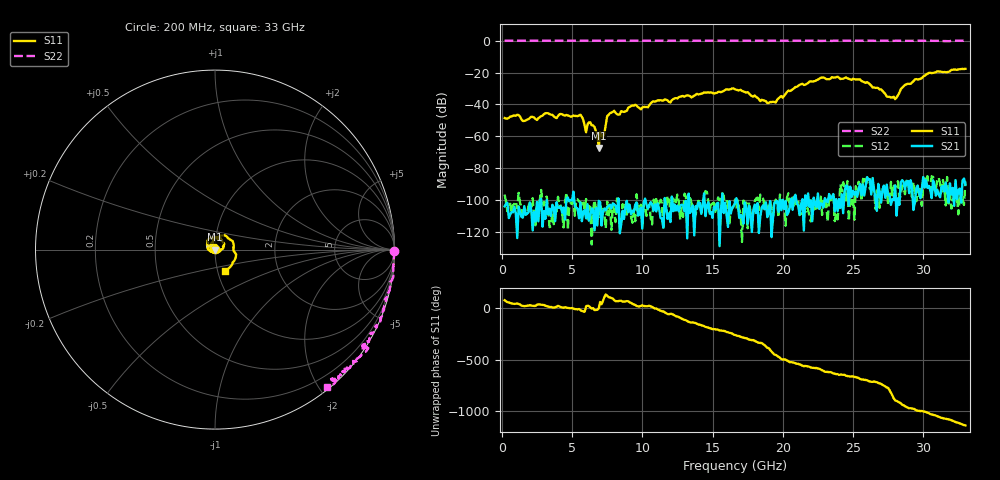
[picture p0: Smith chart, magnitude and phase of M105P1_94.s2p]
# GHZ S RI R 50
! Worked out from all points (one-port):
!   329 points, 200 MHz to 33 GHz, reference 50 ohm
!   lowest |S11| = -67.2 dB at 6.9 GHz (marker M1), VSWR 1.00, Z = 50 + j0.000732 ohm
!   |S11| at or under -10 dB: start of sweep to end of sweep
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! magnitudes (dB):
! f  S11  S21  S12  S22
! 200 MHz  -48.5  -103.9  -96.5  0.0
! 5.7 GHz  -47.8  -113.2  -104.4  0.0
! 6 GHz  -57.4  -111.4  -99.3  0.0
! 6.2 GHz  -51.3  -112.9  -103.8  0.0
! 6.6 GHz  -54.2  -119.0  -100.1  0.0
! 6.8 GHz  -58.8  -115.9  -104.1  0.0
! 6.9 GHz  -67.2  -100.5  -111.5  0.0
! 7 GHz  -57.4  -101.2  -102.6  0.0
! 7.2 GHz  -61.2  -107.1  -105.9  0.0
! 7.5 GHz  -47.3  -104.5  -100.9  -0.1
! 7.7 GHz  -45.5  -103.0  -102.9  0.0
! 11.2 GHz  -37.4  -105.3  -102.0  -0.1
! 16.6 GHz  -30.5  -101.8  -99.7  0.0
! 19.5 GHz  -38.7  -101.0  -99.7  -0.1
! 20.4 GHz  -31.3  -107.9  -95.8  -0.1
! 22.1 GHz  -25.7  -113.2  -106.2  0.0
! 25.5 GHz  -24.3  -89.9  -90.5  0.0
! 27.6 GHz  -35.2  -97.1  -100.6  0.0
! 28 GHz  -36.7  -90.7  -91.7  -0.1
! 28.7 GHz  -27.8  -93.2  -96.3  -0.2
! 30.4 GHz  -20.2  -91.1  -91.5  -0.1
! 33 GHz  -17.6  -90.3  -88.2  -0.1
